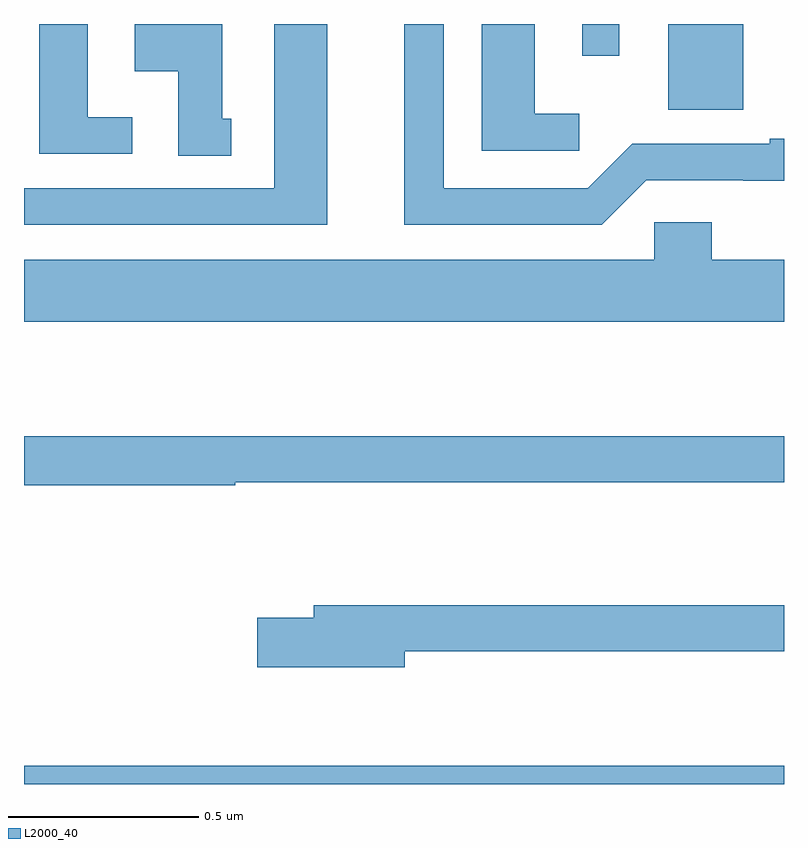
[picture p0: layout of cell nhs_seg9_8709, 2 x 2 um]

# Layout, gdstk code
import gdstk
lib = gdstk.Library(unit=1e-6, precision=1e-09)
def R(c, l, rs):  # rectangles x0, y0, x1, y1
    for r in rs: c.add(gdstk.rectangle(r[:2], r[2:], *l))
def P(c, l, *ps):  # polygons
    for p in ps: c.add(gdstk.Polygon(p, *l))
L2000_40 = (2000, 40)

nhs_seg9_8709 = lib.new_cell('nhs_seg9_8709')
R(nhs_seg9_8709, L2000_40, [(220,1232.5,222,1232.548), (221.696,1234.274,221.893,1234.5), (221.469,1234.416,221.566,1234.5)])
P(nhs_seg9_8709, L2000_40, [(220.285,1234.254),(220.168,1234.254),(220.168,1234.5),(220.04,1234.5),(220.04,1234.158),(220.285,1234.158)],
  [(221.461,1234.264),(221.344,1234.264),(221.344,1234.5),(221.204,1234.5),(221.204,1234.167),(221.461,1234.167)],
  [(221.637,1234.089),(221.893,1234.089),(221.893,1234.088),(222,1234.088),(222,1234.198),(221.963,1234.198),(221.963,1234.185),(221.601,1234.185),(221.484,1234.068),(221.104,1234.068),(221.104,1234.5),(221,1234.5),(221,1233.972),(221.52,1233.972)],
  [(220.798,1234.5),(220.658,1234.5),(220.658,1234.068),(220,1234.068),(220,1233.972),(220.798,1233.972)],
  [(220.546,1234.251),(220.522,1234.251),(220.522,1234.5),(220.292,1234.5),(220.292,1234.376),(220.406,1234.376),(220.406,1234.153),(220.546,1234.153)],
  [(222,1233.88),(221.81,1233.88),(221.81,1233.978),(221.658,1233.978),(221.658,1233.88),(220,1233.88),(220,1233.716),(222,1233.716)],
  [(220.556,1233.294),(222,1233.294),(222,1233.415),(220,1233.415),(220,1233.286),(220.556,1233.286)],
  [(221.002,1232.85),(222,1232.85),(222,1232.971),(220.763,1232.971),(220.763,1232.937),(220.614,1232.937),(220.614,1232.807),(221.002,1232.807)])

lib.write_gds('nhs_seg9_8709.gds')
